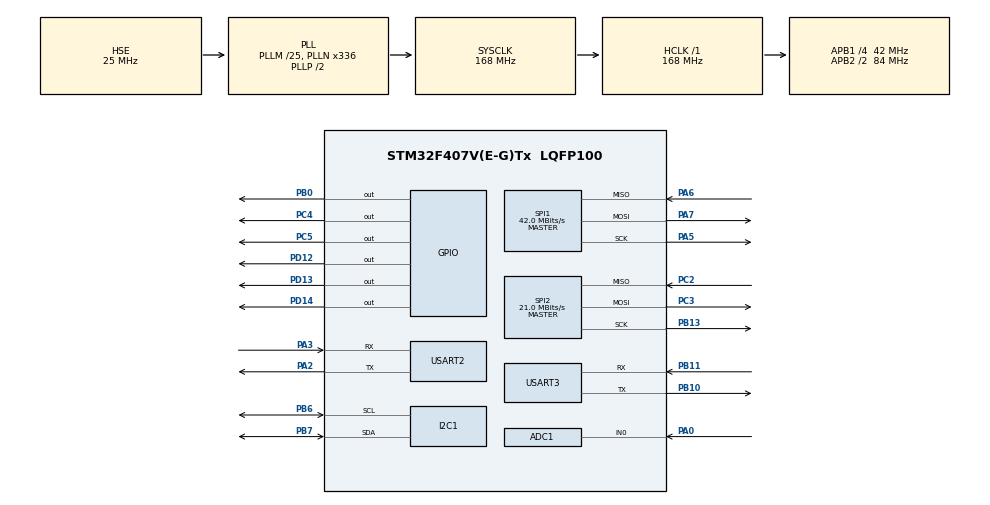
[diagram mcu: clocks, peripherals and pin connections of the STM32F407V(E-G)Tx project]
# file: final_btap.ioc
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ADC1.Channel-2\#ChannelRegularConversion=ADC_CHANNEL_0
ADC1.NbrOfConversionFlag=1
ADC1.Rank-2\#ChannelRegularConversion=1
ADC1.SamplingTime-2\#ChannelRegularConversion=ADC_SAMPLETIME_3CYCLES
ADC1.master=1
FREERTOS.Tasks01=defaultTask,24,128,StartDefaultTask,Default,NULL,Dynamic,NULL,NULL
Mcu.Family=STM32F4
Mcu.Name=STM32F407V(E-G)Tx
Mcu.Package=LQFP100
NVIC.PriorityGroup=NVIC_PRIORITYGROUP_4
NVIC.USART2_IRQn=true\:5\:0\:false\:false\:true\:true\:true\:true\:true
NVIC.USART3_IRQn=true\:5\:0\:false\:false\:true\:true\:true\:true\:true
PA0-WKUP.Signal=ADCx_IN0
PA13.Mode=Serial_Wire
PA13.Signal=SYS_JTMS-SWDIO
PA14.Mode=Serial_Wire
PA14.Signal=SYS_JTCK-SWCLK
PA2.Mode=Asynchronous
PA2.Signal=USART2_TX
PA3.Mode=Asynchronous
PA3.Signal=USART2_RX
PA5.Mode=Full_Duplex_Master
PA5.Signal=SPI1_SCK
PA6.Mode=Full_Duplex_Master
PA6.Signal=SPI1_MISO
PA7.Mode=Full_Duplex_Master
PA7.Signal=SPI1_MOSI
PB0.Signal=GPIO_Output
PB10.Mode=Asynchronous
PB10.Signal=USART3_TX
PB11.Mode=Asynchronous
PB11.Signal=USART3_RX
PB13.Mode=Full_Duplex_Master
PB13.Signal=SPI2_SCK
PB6.Mode=I2C
PB6.Signal=I2C1_SCL
PB7.Mode=I2C
PB7.Signal=I2C1_SDA
PC14-OSC32_IN.Mode=LSE-External-Oscillator
PC14-OSC32_IN.Signal=RCC_OSC32_IN
PC15-OSC32_OUT.Mode=LSE-External-Oscillator
PC15-OSC32_OUT.Signal=RCC_OSC32_OUT
PC2.Mode=Full_Duplex_Master
PC2.Signal=SPI2_MISO
PC3.Mode=Full_Duplex_Master
PC3.Signal=SPI2_MOSI
PC4.Signal=GPIO_Output
PC5.Signal=GPIO_Output
PD12.Signal=GPIO_Output
PD13.Signal=GPIO_Output
PD14.Signal=GPIO_Output
PH0-OSC_IN.Mode=HSE-External-Oscillator
PH0-OSC_IN.Signal=RCC_OSC_IN
PH1-OSC_OUT.Mode=HSE-External-Oscillator
PH1-OSC_OUT.Signal=RCC_OSC_OUT
ProjectManager.HeapSize=0x200
ProjectManager.StackSize=0x400
ProjectManager.TargetToolchain=STM32CubeIDE
RCC.48MHZClocksFreq_Value=84000000
RCC.AHBFreq_Value=168000000
RCC.APB1CLKDivider=RCC_HCLK_DIV4
RCC.APB1Freq_Value=42000000
RCC.APB1TimFreq_Value=84000000
RCC.APB2CLKDivider=RCC_HCLK_DIV2
RCC.APB2Freq_Value=84000000
RCC.APB2TimFreq_Value=168000000
RCC.CortexFreq_Value=168000000
RCC.HCLKFreq_Value=168000000
RCC.HSE_VALUE=25000000
RCC.HSI_VALUE=16000000
RCC.PLLM=25
RCC.PLLN=336
RCC.PLLSourceVirtual=RCC_PLLSOURCE_HSE
RCC.SYSCLKFreq_VALUE=168000000
RCC.SYSCLKSource=RCC_SYSCLKSOURCE_PLLCLK
RCC.VCOOutputFreq_Value=336000000
SH.ADCx_IN0.0=ADC1_IN0,IN0
SPI1.CalculateBaudRate=42.0 MBits/s
SPI1.Direction=SPI_DIRECTION_2LINES
SPI1.Mode=SPI_MODE_MASTER
SPI1.VirtualType=VM_MASTER
SPI2.CalculateBaudRate=21.0 MBits/s
SPI2.Direction=SPI_DIRECTION_2LINES
SPI2.Mode=SPI_MODE_MASTER
SPI2.VirtualType=VM_MASTER
USART2.VirtualMode=VM_ASYNC
USART3.VirtualMode=VM_ASYNC
VP_FREERTOS_VS_CMSIS_V2.Mode=CMSIS_V2
board=custom

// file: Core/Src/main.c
/* USER CODE BEGIN Header */
/**
  ******************************************************************************
  * @file           : main.c
  * @brief          : Main program body - Environmental Monitoring System (STM32F407)
  ******************************************************************************
  */
/* USER CODE END Header */
#include "main.h"
#include "cmsis_os.h"

/* USER CODE BEGIN Includes */
#include "free_rtos.h"
#include "logging.h"
#include "adc.h"
#include "led.h"
#include "i2c_bmp280.h"
#include "i2c_oled_lcd.h"
#include "spi_w25qxx.h"
/* USER CODE END Includes */

ADC_HandleTypeDef hadc1;

I2C_HandleTypeDef hi2c1;

SPI_HandleTypeDef hspi1;
SPI_HandleTypeDef hspi2;

UART_HandleTypeDef huart2;
UART_HandleTypeDef huart3;

/* Definitions for defaultTask */
osThreadId_t defaultTaskHandle;
const osThreadAttr_t defaultTask_attributes = {
  .name = "defaultTask",
  .stack_size = 128 * 4,
  .priority = (osPriority_t) osPriorityNormal,
};

void SystemClock_Config(void);
static void MX_GPIO_Init(void);
static void MX_USART3_UART_Init(void);
static void MX_USART2_UART_Init(void);
static void MX_ADC1_Init(void);
static void MX_I2C1_Init(void);
static void MX_SPI1_Init(void);
static void MX_SPI2_Init(void);
void StartDefaultTask(void *argument);

int main(void)
{

  /* MCU Configuration--------------------------------------------------------*/

  /* Reset of all peripherals, Initializes the Flash interface and the Systick. */
  HAL_Init();

  /* Configure the system clock */
  SystemClock_Config();

  /* Initialize all configured peripherals */
  MX_GPIO_Init();
  MX_USART3_UART_Init();
  MX_USART2_UART_Init();
  MX_ADC1_Init();
  MX_I2C1_Init();
  MX_SPI1_Init();
  MX_SPI2_Init();
  /* USER CODE BEGIN 2 */
  Log_Init(&huart2);
    ADC_Init_Module(&hadc1);
    LED_Init();

    Log_Print(LOG_LEVEL_INFO, "MAIN", __LINE__, "==========================================");
    Log_Print(LOG_LEVEL_INFO, "MAIN", __LINE__, "  Environmental Monitoring System (RTOS)  ");
    Log_Print(LOG_LEVEL_INFO, "MAIN", __LINE__, "  MCU: STM32F407VGT6 | Core: FreeRTOS     ");
    Log_Print(LOG_LEVEL_INFO, "MAIN", __LINE__, "==========================================");

    OLED_Init(&hi2c1);
    OLED_ShowString(0, 0, "Env Monitor RTOS");
    OLED_ShowString(0, 12, "Booting...");
    OLED_UpdateScreen();

    BMP280_Init(&hi2c1);
    W25Q_Init(&hspi1);
  /* USER CODE END 2 */

  /* Init scheduler */
  osKernelInitialize();

  /* Create the thread(s) */
  /* creation of defaultTask */
  defaultTaskHandle = osThreadNew(StartDefaultTask, NULL, &defaultTask_attributes);

  /* Start scheduler */
  osKernelStart();

  /* We should never get here as control is now taken by the scheduler */

  /* Infinite loop */
  while (1)
  {

  }
}

void SystemClock_Config(void)
{
  RCC_OscInitTypeDef RCC_OscInitStruct = {0};
  RCC_ClkInitTypeDef RCC_ClkInitStruct = {0};

  /** Configure the main internal regulator output voltage
  */
  __HAL_RCC_PWR_CLK_ENABLE();
  __HAL_PWR_VOLTAGESCALING_CONFIG(PWR_REGULATOR_VOLTAGE_SCALE1);

  /** Initializes the RCC Oscillators according to the specified parameters
  * in the RCC_OscInitTypeDef structure.
  */
  RCC_OscInitStruct.OscillatorType = RCC_OSCILLATORTYPE_HSE;
  RCC_OscInitStruct.HSEState = RCC_HSE_ON;
  RCC_OscInitStruct.PLL.PLLState = RCC_PLL_ON;
  RCC_OscInitStruct.PLL.PLLSource = RCC_PLLSOURCE_HSE;
  RCC_OscInitStruct.PLL.PLLM = 25;
  RCC_OscInitStruct.PLL.PLLN = 336;
  RCC_OscInitStruct.PLL.PLLP = RCC_PLLP_DIV2;
  RCC_OscInitStruct.PLL.PLLQ = 4;
  if (HAL_RCC_OscConfig(&RCC_OscInitStruct) != HAL_OK)
  {
    Error_Handler();
  }

  /** Initializes the CPU, AHB and APB buses clocks
  */
  RCC_ClkInitStruct.ClockType = RCC_CLOCKTYPE_HCLK|RCC_CLOCKTYPE_SYSCLK
                              |RCC_CLOCKTYPE_PCLK1|RCC_CLOCKTYPE_PCLK2;
  RCC_ClkInitStruct.SYSCLKSource = RCC_SYSCLKSOURCE_PLLCLK;
  RCC_ClkInitStruct.AHBCLKDivider = RCC_SYSCLK_DIV1;
  RCC_ClkInitStruct.APB1CLKDivider = RCC_HCLK_DIV4;
  RCC_ClkInitStruct.APB2CLKDivider = RCC_HCLK_DIV2;

  if (HAL_RCC_ClockConfig(&RCC_ClkInitStruct, FLASH_LATENCY_5) != HAL_OK)
  {
    Error_Handler();
  }
}

static void MX_ADC1_Init(void)
{

  ADC_ChannelConfTypeDef sConfig = {0};

  /** Configure the global features of the ADC (Clock, Resolution, Data Alignment and number of conversion)
  */
  hadc1.Instance = ADC1;
  hadc1.Init.ClockPrescaler = ADC_CLOCK_SYNC_PCLK_DIV4;
  hadc1.Init.Resolution = ADC_RESOLUTION_12B;
  hadc1.Init.ScanConvMode = DISABLE;
  hadc1.Init.ContinuousConvMode = DISABLE;
  hadc1.Init.DiscontinuousConvMode = DISABLE;
  hadc1.Init.ExternalTrigConvEdge = ADC_EXTERNALTRIGCONVEDGE_NONE;
  hadc1.Init.ExternalTrigConv = ADC_SOFTWARE_START;
  hadc1.Init.DataAlign = ADC_DATAALIGN_RIGHT;
  hadc1.Init.NbrOfConversion = 1;
  hadc1.Init.DMAContinuousRequests = DISABLE;
  hadc1.Init.EOCSelection = ADC_EOC_SINGLE_CONV;
  if (HAL_ADC_Init(&hadc1) != HAL_OK)
  {
    Error_Handler();
  }

  /** Configure for the selected ADC regular channel its corresponding rank in the sequencer and its sample time.
  */
  sConfig.Channel = ADC_CHANNEL_0;
  sConfig.Rank = 1;
  sConfig.SamplingTime = ADC_SAMPLETIME_3CYCLES;
  if (HAL_ADC_ConfigChannel(&hadc1, &sConfig) != HAL_OK)
  {
    Error_Handler();
  }

}

static void MX_I2C1_Init(void)
{

  hi2c1.Instance = I2C1;
  hi2c1.Init.ClockSpeed = 100000;
  hi2c1.Init.DutyCycle = I2C_DUTYCYCLE_2;
  hi2c1.Init.OwnAddress1 = 0;
  hi2c1.Init.AddressingMode = I2C_ADDRESSINGMODE_7BIT;
  hi2c1.Init.DualAddressMode = I2C_DUALADDRESS_DISABLE;
  hi2c1.Init.OwnAddress2 = 0;
  hi2c1.Init.GeneralCallMode = I2C_GENERALCALL_DISABLE;
  hi2c1.Init.NoStretchMode = I2C_NOSTRETCH_DISABLE;
  if (HAL_I2C_Init(&hi2c1) != HAL_OK)
  {
    Error_Handler();
  }

}

static void MX_SPI1_Init(void)
{

  /* SPI1 parameter configuration*/
  hspi1.Instance = SPI1;
  hspi1.Init.Mode = SPI_MODE_MASTER;
  hspi1.Init.Direction = SPI_DIRECTION_2LINES;
  hspi1.Init.DataSize = SPI_DATASIZE_8BIT;
  hspi1.Init.CLKPolarity = SPI_POLARITY_LOW;
  hspi1.Init.CLKPhase = SPI_PHASE_1EDGE;
  hspi1.Init.NSS = SPI_NSS_SOFT;
  hspi1.Init.BaudRatePrescaler = SPI_BAUDRATEPRESCALER_2;
  hspi1.Init.FirstBit = SPI_FIRSTBIT_MSB;
  hspi1.Init.TIMode = SPI_TIMODE_DISABLE;
  hspi1.Init.CRCCalculation = SPI_CRCCALCULATION_DISABLE;
  hspi1.Init.CRCPolynomial = 10;
  if (HAL_SPI_Init(&hspi1) != HAL_OK)
  {
    Error_Handler();
  }

}

static void MX_SPI2_Init(void)
{

  /* SPI2 parameter configuration*/
  hspi2.Instance = SPI2;
  hspi2.Init.Mode = SPI_MODE_MASTER;
  hspi2.Init.Direction = SPI_DIRECTION_2LINES;
  hspi2.Init.DataSize = SPI_DATASIZE_8BIT;
  hspi2.Init.CLKPolarity = SPI_POLARITY_LOW;
  hspi2.Init.CLKPhase = SPI_PHASE_1EDGE;
  hspi2.Init.NSS = SPI_NSS_SOFT;
  hspi2.Init.BaudRatePrescaler = SPI_BAUDRATEPRESCALER_2;
  hspi2.Init.FirstBit = SPI_FIRSTBIT_MSB;
  hspi2.Init.TIMode = SPI_TIMODE_DISABLE;
  hspi2.Init.CRCCalculation = SPI_CRCCALCULATION_DISABLE;
  hspi2.Init.CRCPolynomial = 10;
  if (HAL_SPI_Init(&hspi2) != HAL_OK)
  {
    Error_Handler();
  }

}

static void MX_USART2_UART_Init(void)
{

  huart2.Instance = USART2;
  huart2.Init.BaudRate = 115200;
  huart2.Init.WordLength = UART_WORDLENGTH_8B;
  huart2.Init.StopBits = UART_STOPBITS_1;
  huart2.Init.Parity = UART_PARITY_NONE;
  huart2.Init.Mode = UART_MODE_TX_RX;
  huart2.Init.HwFlowCtl = UART_HWCONTROL_NONE;
  huart2.Init.OverSampling = UART_OVERSAMPLING_16;
  if (HAL_UART_Init(&huart2) != HAL_OK)
  {
    Error_Handler();
  }

}

static void MX_USART3_UART_Init(void)
{

  huart3.Instance = USART3;
  huart3.Init.BaudRate = 115200;
  huart3.Init.WordLength = UART_WORDLENGTH_8B;
  huart3.Init.StopBits = UART_STOPBITS_1;
  huart3.Init.Parity = UART_PARITY_NONE;
  huart3.Init.Mode = UART_MODE_TX_RX;
  huart3.Init.HwFlowCtl = UART_HWCONTROL_NONE;
  huart3.Init.OverSampling = UART_OVERSAMPLING_16;
  if (HAL_UART_Init(&huart3) != HAL_OK)
  {
    Error_Handler();
  }

}

static void MX_GPIO_Init(void)
{
  GPIO_InitTypeDef GPIO_InitStruct = {0};

  /* GPIO Ports Clock Enable */
  __HAL_RCC_GPIOC_CLK_ENABLE();
  __HAL_RCC_GPIOH_CLK_ENABLE();
  __HAL_RCC_GPIOA_CLK_ENABLE();
  __HAL_RCC_GPIOB_CLK_ENABLE();
  __HAL_RCC_GPIOD_CLK_ENABLE();

  /*Configure GPIO pin Output Level */
  HAL_GPIO_WritePin(GPIOC, GPIO_PIN_4|GPIO_PIN_5, GPIO_PIN_RESET);

  /*Configure GPIO pin Output Level */
  HAL_GPIO_WritePin(GPIOB, GPIO_PIN_0, GPIO_PIN_RESET);

  /*Configure GPIO pin Output Level */
  HAL_GPIO_WritePin(GPIOD, GPIO_PIN_12|GPIO_PIN_13|GPIO_PIN_14, GPIO_PIN_RESET);

  /*Configure GPIO pins : PC4 PC5 */
  GPIO_InitStruct.Pin = GPIO_PIN_4|GPIO_PIN_5;
  GPIO_InitStruct.Mode = GPIO_MODE_OUTPUT_PP;
  GPIO_InitStruct.Pull = GPIO_NOPULL;
  GPIO_InitStruct.Speed = GPIO_SPEED_FREQ_LOW;
  HAL_GPIO_Init(GPIOC, &GPIO_InitStruct);

  /*Configure GPIO pin : PB0 */
  GPIO_InitStruct.Pin = GPIO_PIN_0;
  GPIO_InitStruct.Mode = GPIO_MODE_OUTPUT_PP;
  GPIO_InitStruct.Pull = GPIO_NOPULL;
  GPIO_InitStruct.Speed = GPIO_SPEED_FREQ_LOW;
  HAL_GPIO_Init(GPIOB, &GPIO_InitStruct);

  /*Configure GPIO pins : PD12 PD13 PD14 */
  GPIO_InitStruct.Pin = GPIO_PIN_12|GPIO_PIN_13|GPIO_PIN_14;
  GPIO_InitStruct.Mode = GPIO_MODE_OUTPUT_PP;
  GPIO_InitStruct.Pull = GPIO_NOPULL;
  GPIO_InitStruct.Speed = GPIO_SPEED_FREQ_LOW;
  HAL_GPIO_Init(GPIOD, &GPIO_InitStruct);

}

void StartDefaultTask(void *argument)
{
  for(;;)
  {
    osDelay(1);
  }
}

void Error_Handler(void)
{
  __disable_irq();
  while (1)
  {
  }
}
